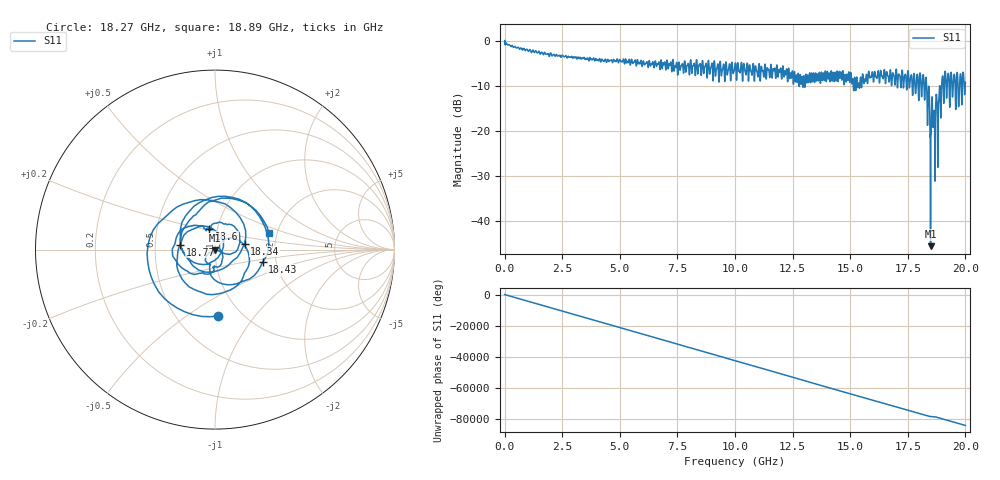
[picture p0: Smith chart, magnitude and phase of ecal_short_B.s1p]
! MS46122B
! 2250307/22442219
! 6/13/2025 3:24:40 PM
! C:\USERS\SPARKY\DOCUMENTS\VNA_DATA\JUNE13_2025\3.2K\ECAL_SHORT_C.S1P
! CHANNEL.1
! TR.MEASUREMENT
! RAW.DATA
# GHZ S RI R 50.0
! FREQ.GHZ  S11RE  S11IM
!; PortSelection: Port_1
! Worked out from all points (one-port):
!   10001 points, 1 MHz to 20 GHz, reference 50 ohm
!   lowest |S11| = -45.7 dB at 18.49 GHz (marker M1), VSWR 1.01, Z = 50.2 - j0.483 ohm
!   |S11| at or under -10 dB: 18.31 GHz to 18.89 GHz (572.9 MHz wide, 3.08 % of centre); 18.88875 GHz to 18.96986 GHz (81.11 MHz wide, 0.429 % of centre); 19.67815 GHz to 19.74565 GHz (67.51 MHz wide, 0.342 % of centre) (the widest 3 of 28)
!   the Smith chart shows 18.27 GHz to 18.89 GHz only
!   S11 on the Smith chart (normalised r, x): 18.27 GHz: 0.78, -0.67; 18.34 GHz: 1.39, +0.10; 18.43 GHz: 1.70, -0.25; 18.6 GHz: 0.92, +0.21; 18.77 GHz: 0.67, +0.04; 18.89 GHz: 1.82, +0.36
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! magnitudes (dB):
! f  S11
! 1 MHz  -0.2
! 2.501 GHz  -3.2
! 5.001 GHz  -4.1
! 7.501 GHz  -7.0
! 10 GHz  -5.3
! 12.5 GHz  -6.9
! 12.95 GHz  -10.1
! 15 GHz  -8.3
! 15.32 GHz  -10.4
! 15.88 GHz  -8.0
! 17.5 GHz  -6.8
! 18.1 GHz  -12.4
! 18.23 GHz  -13.2
! 18.27 GHz  -8.6
! 18.34 GHz  -15.5
! 18.43 GHz  -11.3
! 18.49 GHz  -45.7
! 18.55 GHz  -12.4
! 18.6 GHz  -18.5
! 18.77 GHz  -14.2
! 18.8 GHz  -26.3
! 18.89 GHz  -10.0
! 18.93 GHz  -17.0
! 19.06 GHz  -13.9
! 19.51 GHz  -7.5
! 19.58 GHz  -15.0
! 19.65 GHz  -7.2
! 20 GHz  -9.2
